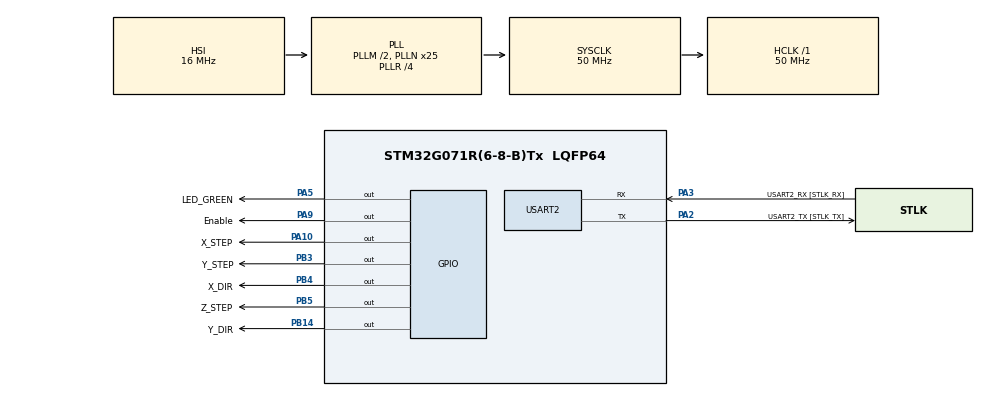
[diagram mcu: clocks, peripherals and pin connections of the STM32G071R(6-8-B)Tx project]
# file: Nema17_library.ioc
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Mcu.Family=STM32G0
Mcu.Name=STM32G071R(6-8-B)Tx
Mcu.Package=LQFP64
PA10.GPIO_Label=X_STEP
PA10.Signal=GPIO_Output
PA13.GPIO_Label=TMS
PA13.Mode=Serial_Wire
PA13.Signal=SYS_SWDIO
PA14-BOOT0.GPIO_Label=TCK
PA14-BOOT0.Mode=Serial_Wire
PA14-BOOT0.Signal=SYS_SWCLK
PA2.GPIO_Label=USART2_TX [STLK_TX]
PA2.GPIO_PuPd=GPIO_PULLUP
PA2.Mode=Asynchronous
PA2.Signal=USART2_TX
PA3.GPIO_Label=USART2_RX [STLK_RX]
PA3.GPIO_PuPd=GPIO_PULLUP
PA3.Mode=Asynchronous
PA3.Signal=USART2_RX
PA5.GPIO_Label=LED_GREEN
PA5.GPIO_Speed=GPIO_SPEED_FREQ_HIGH
PA5.Signal=GPIO_Output
PA9.GPIO_Label=Enable
PA9.Signal=GPIO_Output
PB14.GPIO_Label=Y_DIR
PB14.Signal=GPIO_Output
PB3.GPIO_Label=Y_STEP
PB3.Signal=GPIO_Output
PB4.GPIO_Label=X_DIR
PB4.Signal=GPIO_Output
PB5.GPIO_Label=Z_STEP
PB5.Signal=GPIO_Output
PC13.Mode=SYS_WakeUp1
PC13.Signal=SYS_WKUP2
PC14-OSC32_IN\ (PC14).Mode=LSE-External-Oscillator
PC14-OSC32_IN\ (PC14).Signal=RCC_OSC32_IN
PC15-OSC32_OUT\ (PC15).Mode=LSE-External-Oscillator
PC15-OSC32_OUT\ (PC15).Signal=RCC_OSC32_OUT
PF0-OSC_IN\ (PF0).GPIO_Label=MCO
PF0-OSC_IN\ (PF0).Mode=HSE-External-Clock-Source
PF0-OSC_IN\ (PF0).Signal=RCC_OSC_IN
ProjectManager.HeapSize=0x200
ProjectManager.StackSize=0x400
ProjectManager.TargetToolchain=STM32CubeIDE
RCC.ADCFreq_Value=50000000
RCC.AHBFreq_Value=50000000
RCC.CortexFreq_Value=50000000
RCC.EXTERNAL_CLOCK_VALUE=12288000
RCC.HCLKFreq_Value=50000000
RCC.HSE_VALUE=8000000
RCC.HSI_VALUE=16000000
RCC.PLLM=RCC_PLLM_DIV2
RCC.PLLN=25
RCC.PLLR=RCC_PLLR_DIV4
RCC.SYSCLKFreq_VALUE=50000000
RCC.SYSCLKSource=RCC_SYSCLKSOURCE_PLLCLK
RCC.VCOOutputFreq_Value=200000000
TIM6.Period=0xffff-1
TIM6.Prescaler=50-1
USART2.VirtualMode-Asynchronous=VM_ASYNC
VP_SYS_VS_DBSignals.Mode=DisableDeadBatterySignals
VP_TIM6_VS_ClockSourceINT.Mode=Enable_Timer
board=NUCLEO-G071RB

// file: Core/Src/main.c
/* USER CODE BEGIN Header */
/**
  ******************************************************************************
  * @file           : main.c
  * @brief          : Main program body
  ******************************************************************************
  * @attention
  *
  * <h2><center>&copy; Copyright (c) 2023 STMicroelectronics.
  * All rights reserved.</center></h2>
  *
  * This software component is licensed by ST under BSD 3-Clause license,
  * the "License"; You may not use this file except in compliance with the
  * License. You may obtain a copy of the License at:
  *                        opensource.org/licenses/BSD-3-Clause
  *
  ******************************************************************************
  */
/* USER CODE END Header */
#include "main.h"

/* USER CODE BEGIN Includes */
#include "Nema17.h"
/* USER CODE END Includes */

TIM_HandleTypeDef htim6;

UART_HandleTypeDef huart2;

/* USER CODE BEGIN PV */
int STEPDelay = 700;
int pasos=0,pasos1=50;
int flag_motor=0;
int flag_motor1=0;
int enable=0;
int Movex[4]={700,1140,0,1140};
int Movey[4]={400,0,1040,0};
int Dirx[5]={1,1,0,0};
int Diry[5]={0,0,1,1};
TypedefMotor Motores[Max_motors];
/* USER CODE END PV */

void SystemClock_Config(void);
static void MX_GPIO_Init(void);
static void MX_USART2_UART_Init(void);
static void MX_TIM6_Init(void);

int main(void)
{

  /* MCU Configuration--------------------------------------------------------*/

  /* Reset of all peripherals, Initializes the Flash interface and the Systick. */
  HAL_Init();

  /* Configure the system clock */
  SystemClock_Config();

  /* Initialize all configured peripherals */
  MX_GPIO_Init();
  MX_USART2_UART_Init();
  MX_TIM6_Init();
  /* USER CODE BEGIN 2 */
  HAL_TIM_Base_Start(&htim6);
  Config_motor_Pin(&Motores[0],X_STEP_GPIO_Port,X_DIR_GPIO_Port,X_STEP_Pin,X_DIR_Pin);

  Config_motor_Pin(&Motores[1],Y_STEP_GPIO_Port,Y_DIR_GPIO_Port,Y_STEP_Pin,Y_DIR_Pin);

  //Config_motor_caracteristicas(&Motores[1],3600,1);

  /* USER CODE END 2 */

  /* Infinite loop */
  /* USER CODE BEGIN WHILE */
  while (1)
  {

	  for (int var = 0; var < 4;)
	  {
		  if(!Motores[0].Move&&!Motores[1].Move)
		  {
		  Config_motor_caracteristicas(&Motores[0],Movey[var],0);
		  if(var==3)
		  {
			  Config_motor_caracteristicas(&Motores[1],Movex[var],0);
		  }
		  else
		  {
			  Config_motor_caracteristicas(&Motores[1],Movex[var],1);
		  }

		  HAL_Delay(5000);
		  var++;
		  }

		  Movimiento_simultaneo(Motores,STEPDelay);
	  }
	  for (int var = 4; var > 0;)
	  {
		  if(!Motores[0].Move&&!Motores[1].Move)
		  {
		  Config_motor_caracteristicas(&Motores[0],Movey[var],1);
		  Config_motor_caracteristicas(&Motores[1],Movex[var],0);
		  var--;
		  }

		  Movimiento_simultaneo(Motores,STEPDelay);
	  }

	  /*if(!Motores[0].Move)
	  {
		  static int var=0;
		  if(var>7)
		  {
			  var=0;
		  }
		  Config_motor_caracteristicas(&Motores[0],Movex[var++],Motores[0].Dir);
		  Motores[0].Dir=!Motores[0].Dir;
	  }
	  if(!Motores[1].Move)
	  {
		  static int var=0;
		  if(var>7)

			  var=0;
		  }
		  Config_motor_caracteristicas(&Motores[1],Movey[var++],Motores[1].Dir);
		  Motores[1].Dir=!Motores[1].Dir;
	  }*/

    /* USER CODE END WHILE */

  }
}

void SystemClock_Config(void)
{
  RCC_OscInitTypeDef RCC_OscInitStruct = {0};
  RCC_ClkInitTypeDef RCC_ClkInitStruct = {0};
  RCC_PeriphCLKInitTypeDef PeriphClkInit = {0};

  /** Configure the main internal regulator output voltage
  */
  HAL_PWREx_ControlVoltageScaling(PWR_REGULATOR_VOLTAGE_SCALE1);
  /** Initializes the RCC Oscillators according to the specified parameters
  * in the RCC_OscInitTypeDef structure.
  */
  RCC_OscInitStruct.OscillatorType = RCC_OSCILLATORTYPE_HSI;
  RCC_OscInitStruct.HSIState = RCC_HSI_ON;
  RCC_OscInitStruct.HSIDiv = RCC_HSI_DIV1;
  RCC_OscInitStruct.HSICalibrationValue = RCC_HSICALIBRATION_DEFAULT;
  RCC_OscInitStruct.PLL.PLLState = RCC_PLL_ON;
  RCC_OscInitStruct.PLL.PLLSource = RCC_PLLSOURCE_HSI;
  RCC_OscInitStruct.PLL.PLLM = RCC_PLLM_DIV2;
  RCC_OscInitStruct.PLL.PLLN = 25;
  RCC_OscInitStruct.PLL.PLLP = RCC_PLLP_DIV2;
  RCC_OscInitStruct.PLL.PLLQ = RCC_PLLQ_DIV2;
  RCC_OscInitStruct.PLL.PLLR = RCC_PLLR_DIV4;
  if (HAL_RCC_OscConfig(&RCC_OscInitStruct) != HAL_OK)
  {
    Error_Handler();
  }
  /** Initializes the CPU, AHB and APB buses clocks
  */
  RCC_ClkInitStruct.ClockType = RCC_CLOCKTYPE_HCLK|RCC_CLOCKTYPE_SYSCLK
                              |RCC_CLOCKTYPE_PCLK1;
  RCC_ClkInitStruct.SYSCLKSource = RCC_SYSCLKSOURCE_PLLCLK;
  RCC_ClkInitStruct.AHBCLKDivider = RCC_SYSCLK_DIV1;
  RCC_ClkInitStruct.APB1CLKDivider = RCC_HCLK_DIV1;

  if (HAL_RCC_ClockConfig(&RCC_ClkInitStruct, FLASH_LATENCY_2) != HAL_OK)
  {
    Error_Handler();
  }
  /** Initializes the peripherals clocks
  */
  PeriphClkInit.PeriphClockSelection = RCC_PERIPHCLK_USART2;
  PeriphClkInit.Usart2ClockSelection = RCC_USART2CLKSOURCE_PCLK1;
  if (HAL_RCCEx_PeriphCLKConfig(&PeriphClkInit) != HAL_OK)
  {
    Error_Handler();
  }
}

static void MX_TIM6_Init(void)
{

  TIM_MasterConfigTypeDef sMasterConfig = {0};

  htim6.Instance = TIM6;
  htim6.Init.Prescaler = 50-1;
  htim6.Init.CounterMode = TIM_COUNTERMODE_UP;
  htim6.Init.Period = 0xffff-1;
  htim6.Init.AutoReloadPreload = TIM_AUTORELOAD_PRELOAD_DISABLE;
  if (HAL_TIM_Base_Init(&htim6) != HAL_OK)
  {
    Error_Handler();
  }
  sMasterConfig.MasterOutputTrigger = TIM_TRGO_RESET;
  sMasterConfig.MasterSlaveMode = TIM_MASTERSLAVEMODE_DISABLE;
  if (HAL_TIMEx_MasterConfigSynchronization(&htim6, &sMasterConfig) != HAL_OK)
  {
    Error_Handler();
  }

}

static void MX_USART2_UART_Init(void)
{

  huart2.Instance = USART2;
  huart2.Init.BaudRate = 115200;
  huart2.Init.WordLength = UART_WORDLENGTH_8B;
  huart2.Init.StopBits = UART_STOPBITS_1;
  huart2.Init.Parity = UART_PARITY_NONE;
  huart2.Init.Mode = UART_MODE_TX_RX;
  huart2.Init.HwFlowCtl = UART_HWCONTROL_NONE;
  huart2.Init.OverSampling = UART_OVERSAMPLING_16;
  huart2.Init.OneBitSampling = UART_ONE_BIT_SAMPLE_DISABLE;
  huart2.Init.ClockPrescaler = UART_PRESCALER_DIV1;
  huart2.AdvancedInit.AdvFeatureInit = UART_ADVFEATURE_NO_INIT;
  if (HAL_UART_Init(&huart2) != HAL_OK)
  {
    Error_Handler();
  }
  if (HAL_UARTEx_SetTxFifoThreshold(&huart2, UART_TXFIFO_THRESHOLD_1_8) != HAL_OK)
  {
    Error_Handler();
  }
  if (HAL_UARTEx_SetRxFifoThreshold(&huart2, UART_RXFIFO_THRESHOLD_1_8) != HAL_OK)
  {
    Error_Handler();
  }
  if (HAL_UARTEx_DisableFifoMode(&huart2) != HAL_OK)
  {
    Error_Handler();
  }

}

static void MX_GPIO_Init(void)
{
  GPIO_InitTypeDef GPIO_InitStruct = {0};

  /* GPIO Ports Clock Enable */
  __HAL_RCC_GPIOC_CLK_ENABLE();
  __HAL_RCC_GPIOF_CLK_ENABLE();
  __HAL_RCC_GPIOA_CLK_ENABLE();
  __HAL_RCC_GPIOB_CLK_ENABLE();

  /*Configure GPIO pin Output Level */
  HAL_GPIO_WritePin(GPIOA, LED_GREEN_Pin|Enable_Pin|X_STEP_Pin, GPIO_PIN_RESET);

  /*Configure GPIO pin Output Level */
  HAL_GPIO_WritePin(GPIOB, Y_DIR_Pin|Y_STEP_Pin|X_DIR_Pin|Z_STEP_Pin, GPIO_PIN_RESET);

  /*Configure GPIO pin : LED_GREEN_Pin */
  GPIO_InitStruct.Pin = LED_GREEN_Pin;
  GPIO_InitStruct.Mode = GPIO_MODE_OUTPUT_PP;
  GPIO_InitStruct.Pull = GPIO_NOPULL;
  GPIO_InitStruct.Speed = GPIO_SPEED_FREQ_HIGH;
  HAL_GPIO_Init(LED_GREEN_GPIO_Port, &GPIO_InitStruct);

  /*Configure GPIO pins : Y_DIR_Pin Y_STEP_Pin X_DIR_Pin Z_STEP_Pin */
  GPIO_InitStruct.Pin = Y_DIR_Pin|Y_STEP_Pin|X_DIR_Pin|Z_STEP_Pin;
  GPIO_InitStruct.Mode = GPIO_MODE_OUTPUT_PP;
  GPIO_InitStruct.Pull = GPIO_NOPULL;
  GPIO_InitStruct.Speed = GPIO_SPEED_FREQ_LOW;
  HAL_GPIO_Init(GPIOB, &GPIO_InitStruct);

  /*Configure GPIO pins : Enable_Pin X_STEP_Pin */
  GPIO_InitStruct.Pin = Enable_Pin|X_STEP_Pin;
  GPIO_InitStruct.Mode = GPIO_MODE_OUTPUT_PP;
  GPIO_InitStruct.Pull = GPIO_NOPULL;
  GPIO_InitStruct.Speed = GPIO_SPEED_FREQ_LOW;
  HAL_GPIO_Init(GPIOA, &GPIO_InitStruct);

}

void Error_Handler(void)
{
  __disable_irq();
  while (1)
  {
  }
}

/************************ (C) COPYRIGHT STMicroelectronics *****END OF FILE****/
